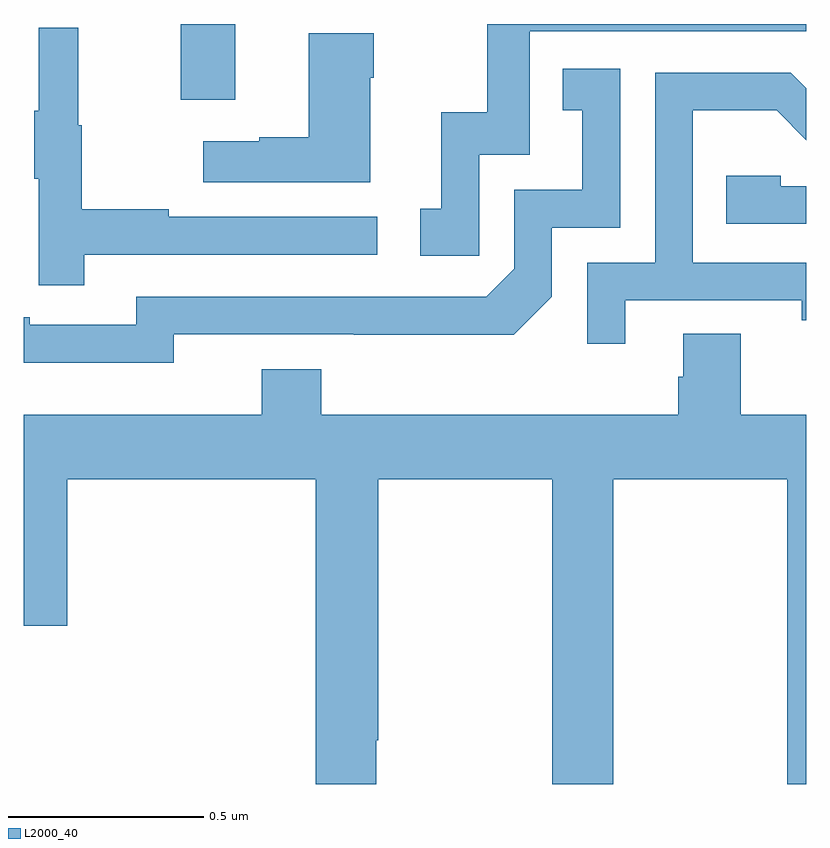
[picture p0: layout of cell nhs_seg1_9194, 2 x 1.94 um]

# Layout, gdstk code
import gdstk
lib = gdstk.Library(unit=1e-6, precision=1e-09)
def R(c, l, rs):  # rectangles x0, y0, x1, y1
    for r in rs: c.add(gdstk.rectangle(r[:2], r[2:], *l))
def P(c, l, *ps):  # polygons
    for p in ps: c.add(gdstk.Polygon(p, *l))
L2000_40 = (2000, 40)

nhs_seg1_9194 = lib.new_cell('nhs_seg1_9194')
R(nhs_seg1_9194, L2000_40, [(225.401,582.006,225.541,582.199)])
P(nhs_seg1_9194, L2000_40, [(226.164,581.865),(226.293,581.865),(226.293,582.18),(227,582.18),(227,582.199),(226.185,582.199),(226.185,581.974),(226.067,581.974),(226.067,581.727),(226.014,581.727),(226.014,581.607),(226.164,581.607)],
  [(225.155,581.61),(225.904,581.61),(225.904,581.706),(225.371,581.706),(225.371,581.726),(225.148,581.726),(225.148,581.94),(225.14,581.94),(225.14,582.19),(225.038,582.19),(225.038,581.977),(225.027,581.977),(225.027,581.803),(225.038,581.803),(225.038,581.532),(225.155,581.532)],
  [(225.886,582.062),(225.894,582.062),(225.894,582.175),(225.728,582.175),(225.728,581.909),(225.602,581.909),(225.602,581.899),(225.459,581.899),(225.459,581.795),(225.886,581.795)],
  [(225.384,581.406),(225.844,581.406),(225.844,581.405),(226.252,581.405),(226.35,581.502),(226.35,581.679),(226.524,581.679),(226.524,582.085),(226.378,582.085),(226.378,581.979),(226.427,581.979),(226.427,581.775),(226.254,581.775),(226.254,581.574),(226.182,581.502),(225.288,581.502),(225.288,581.43),(225.016,581.43),(225.016,581.45),(225,581.45),(225,581.334),(225.016,581.334),(225.016,581.333),(225.384,581.333)],
  [(226.537,581.493),(226.988,581.493),(226.988,581.442),(227,581.442),(227,581.589),(226.71,581.589),(226.71,581.978),(226.924,581.978),(227,581.902),(227,582.035),(226.96,582.075),(226.614,582.075),(226.614,581.589),(226.44,581.589),(226.44,581.382),(226.537,581.382)],
  [(227,581.784),(226.935,581.784),(226.935,581.811),(226.795,581.811),(226.795,581.688),(227,581.688)],
  [(225.761,581.317),(225.608,581.317),(225.608,581.2),(225,581.2),(225,580.662),(225.112,580.662),(225.112,581.036),(225.746,581.036),(225.746,580.257),(225.901,580.257),(225.901,580.369),(225.906,580.369),(225.906,581.036),(226.351,581.036),(226.351,580.257),(226.506,580.257),(226.506,581.036),(226.951,581.036),(226.951,580.257),(227,580.257),(227,581.2),(226.833,581.2),(226.833,581.408),(226.685,581.408),(226.685,581.298),(226.673,581.298),(226.673,581.2),(225.761,581.2)])

lib.write_gds('nhs_seg1_9194.gds')
